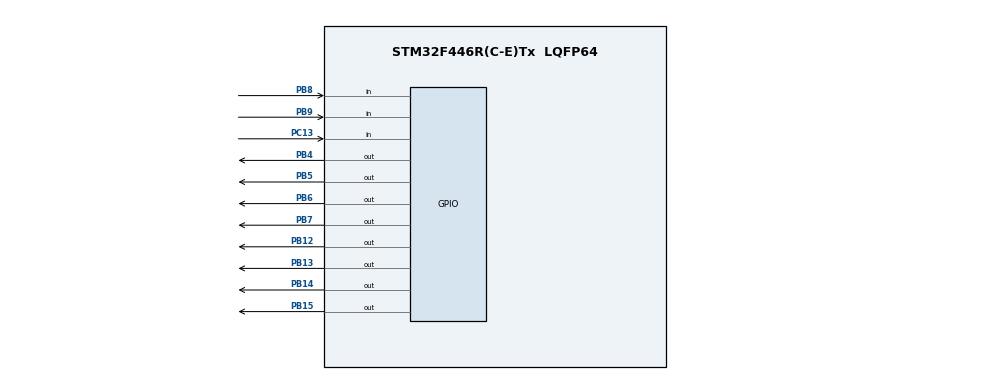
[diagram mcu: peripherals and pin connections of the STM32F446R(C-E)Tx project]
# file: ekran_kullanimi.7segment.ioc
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Mcu.Family=STM32F4
Mcu.Name=STM32F446R(C-E)Tx
Mcu.Package=LQFP64
NVIC.PriorityGroup=NVIC_PRIORITYGROUP_4
PA13.Mode=Serial_Wire
PA13.Signal=SYS_JTMS-SWDIO
PA14.Mode=Serial_Wire
PA14.Signal=SYS_JTCK-SWCLK
PB12.Signal=GPIO_Output
PB13.Signal=GPIO_Output
PB14.Signal=GPIO_Output
PB15.Signal=GPIO_Output
PB4.Signal=GPIO_Output
PB5.Signal=GPIO_Output
PB6.Signal=GPIO_Output
PB7.Signal=GPIO_Output
PB8.Signal=GPIO_Input
PB9.Signal=GPIO_Input
PC13.Signal=GPIO_Input
ProjectManager.HeapSize=0x200
ProjectManager.StackSize=0x400
ProjectManager.TargetToolchain=STM32CubeIDE
RCC.CortexFreq_Value=16000000
RCC.USBFreq_Value=96000000
RCC.VCOOutputFreq_Value=192000000
board=custom

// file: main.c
/* USER CODE BEGIN Header */
/**
  ******************************************************************************
  * @file           : main.c
  * @brief          : Main program body
  ******************************************************************************
  * @attention
  *
  * Copyright (c) 2023 STMicroelectronics.
  * All rights reserved.
  *
  * This software is licensed under terms that can be found in the LICENSE file
  * in the root directory of this software component.
  * If no LICENSE file comes with this software, it is provided AS-IS.
  *
  ******************************************************************************
  */
/* USER CODE END Header */
#include "main.h"

/* USER CODE BEGIN Includes */
#include <stdbool.h>
/* USER CODE END Includes */

/* USER CODE BEGIN PV */
uint8_t count=0;
/* USER CODE END PV */

void SystemClock_Config(void);
static void MX_GPIO_Init(void);
/* USER CODE BEGIN PFP */
void displayNumber(int num);
/* USER CODE END PFP */

int main(void)
{

  /* MCU Configuration--------------------------------------------------------*/

  /* Reset of all peripherals, Initializes the Flash interface and the Systick. */
  HAL_Init();

  /* Configure the system clock */
  SystemClock_Config();

  /* Initialize all configured peripherals */
  MX_GPIO_Init();
  /* USER CODE BEGIN 2 */
  HAL_GPIO_WritePin(GPIOB, GPIO_PIN_12|GPIO_PIN_13|GPIO_PIN_14|GPIO_PIN_15
                          |GPIO_PIN_4|GPIO_PIN_5|GPIO_PIN_6|GPIO_PIN_7, GPIO_PIN_SET);
  /* USER CODE END 2 */

  /* Infinite loop */
  while (1)
  {

    /* USER CODE BEGIN 3 */
	  if(HAL_GPIO_ReadPin(GPIOB, GPIO_PIN_8))
	  {
		  //while(HAL_GPIO_ReadPin(GPIOB, GPIO_PIN_8));
		  HAL_Delay(250);
		  count++;
	  }

	  if(HAL_GPIO_ReadPin(GPIOB, GPIO_PIN_9))
	  {
		  //while(HAL_GPIO_ReadPin(GPIOB, GPIO_PIN_8));
		  HAL_Delay(250);
		  count--;
	  }

	  if (count > 9) {
		  count = 0;
	  } else if (count < 0) {
		  count = 9;
	  }

	  displayNumber(count);
  }
  /* USER CODE END 3 */
}

void SystemClock_Config(void)
{
  RCC_OscInitTypeDef RCC_OscInitStruct = {0};
  RCC_ClkInitTypeDef RCC_ClkInitStruct = {0};

  /** Configure the main internal regulator output voltage
  */
  __HAL_RCC_PWR_CLK_ENABLE();
  __HAL_PWR_VOLTAGESCALING_CONFIG(PWR_REGULATOR_VOLTAGE_SCALE3);

  /** Initializes the RCC Oscillators according to the specified parameters
  * in the RCC_OscInitTypeDef structure.
  */
  RCC_OscInitStruct.OscillatorType = RCC_OSCILLATORTYPE_HSI;
  RCC_OscInitStruct.HSIState = RCC_HSI_ON;
  RCC_OscInitStruct.HSICalibrationValue = RCC_HSICALIBRATION_DEFAULT;
  RCC_OscInitStruct.PLL.PLLState = RCC_PLL_NONE;
  if (HAL_RCC_OscConfig(&RCC_OscInitStruct) != HAL_OK)
  {
    Error_Handler();
  }

  /** Initializes the CPU, AHB and APB buses clocks
  */
  RCC_ClkInitStruct.ClockType = RCC_CLOCKTYPE_HCLK|RCC_CLOCKTYPE_SYSCLK
                              |RCC_CLOCKTYPE_PCLK1|RCC_CLOCKTYPE_PCLK2;
  RCC_ClkInitStruct.SYSCLKSource = RCC_SYSCLKSOURCE_HSI;
  RCC_ClkInitStruct.AHBCLKDivider = RCC_SYSCLK_DIV1;
  RCC_ClkInitStruct.APB1CLKDivider = RCC_HCLK_DIV1;
  RCC_ClkInitStruct.APB2CLKDivider = RCC_HCLK_DIV1;

  if (HAL_RCC_ClockConfig(&RCC_ClkInitStruct, FLASH_LATENCY_0) != HAL_OK)
  {
    Error_Handler();
  }
}

static void MX_GPIO_Init(void)
{
  GPIO_InitTypeDef GPIO_InitStruct = {0};

  /* GPIO Ports Clock Enable */
  __HAL_RCC_GPIOC_CLK_ENABLE();
  __HAL_RCC_GPIOB_CLK_ENABLE();
  __HAL_RCC_GPIOA_CLK_ENABLE();

  /*Configure GPIO pin Output Level */
  HAL_GPIO_WritePin(GPIOB, GPIO_PIN_12|GPIO_PIN_13|GPIO_PIN_14|GPIO_PIN_15
                          |GPIO_PIN_4|GPIO_PIN_5|GPIO_PIN_6|GPIO_PIN_7, GPIO_PIN_RESET);

  /*Configure GPIO pin : PC13 */
  GPIO_InitStruct.Pin = GPIO_PIN_13;
  GPIO_InitStruct.Mode = GPIO_MODE_INPUT;
  GPIO_InitStruct.Pull = GPIO_NOPULL;
  HAL_GPIO_Init(GPIOC, &GPIO_InitStruct);

  /*Configure GPIO pins : PB12 PB13 PB14 PB15
                           PB4 PB5 PB6 PB7 */
  GPIO_InitStruct.Pin = GPIO_PIN_12|GPIO_PIN_13|GPIO_PIN_14|GPIO_PIN_15
                          |GPIO_PIN_4|GPIO_PIN_5|GPIO_PIN_6|GPIO_PIN_7;
  GPIO_InitStruct.Mode = GPIO_MODE_OUTPUT_PP;
  GPIO_InitStruct.Pull = GPIO_NOPULL;
  GPIO_InitStruct.Speed = GPIO_SPEED_FREQ_LOW;
  HAL_GPIO_Init(GPIOB, &GPIO_InitStruct);

  /*Configure GPIO pins : PB8 PB9 */
  GPIO_InitStruct.Pin = GPIO_PIN_8|GPIO_PIN_9;
  GPIO_InitStruct.Mode = GPIO_MODE_INPUT;
  GPIO_InitStruct.Pull = GPIO_NOPULL;
  HAL_GPIO_Init(GPIOB, &GPIO_InitStruct);

}

/* USER CODE BEGIN 4 */
void displayNumber(int num) {
  switch (num) {
    case 0:
        // 1,2,3,4,5,6 segmentleri açık
    HAL_GPIO_WritePin(GPIOB, GPIO_PIN_4, GPIO_PIN_RESET); //1
    HAL_GPIO_WritePin(GPIOB, GPIO_PIN_5, GPIO_PIN_RESET); //2
    HAL_GPIO_WritePin(GPIOB, GPIO_PIN_6, GPIO_PIN_RESET); //3
    HAL_GPIO_WritePin(GPIOB, GPIO_PIN_7, GPIO_PIN_RESET); //4
    HAL_GPIO_WritePin(GPIOB, GPIO_PIN_12, GPIO_PIN_RESET); //5
    HAL_GPIO_WritePin(GPIOB, GPIO_PIN_13, GPIO_PIN_RESET); //6
    HAL_GPIO_WritePin(GPIOB, GPIO_PIN_14, GPIO_PIN_SET); //7
    HAL_GPIO_WritePin(GPIOB, GPIO_PIN_15, GPIO_PIN_RESET); //8
    break;
    case 1:
        // 2,3 segmentleri açık
  	  HAL_GPIO_WritePin(GPIOB, GPIO_PIN_4, GPIO_PIN_SET); //1
  	  HAL_GPIO_WritePin(GPIOB, GPIO_PIN_5, GPIO_PIN_RESET); //2
  	  HAL_GPIO_WritePin(GPIOB, GPIO_PIN_6, GPIO_PIN_RESET); //3
  	  HAL_GPIO_WritePin(GPIOB, GPIO_PIN_7, GPIO_PIN_SET); //4
  	  HAL_GPIO_WritePin(GPIOB, GPIO_PIN_12, GPIO_PIN_SET); //5
  	  HAL_GPIO_WritePin(GPIOB, GPIO_PIN_13, GPIO_PIN_SET); //6
  	  HAL_GPIO_WritePin(GPIOB, GPIO_PIN_14, GPIO_PIN_SET); //7
  	  HAL_GPIO_WritePin(GPIOB, GPIO_PIN_15, GPIO_PIN_RESET); //8
      break;
    case 2:
      // 1,2,7,5,4 segmentleri açık
  	  HAL_GPIO_WritePin(GPIOB, GPIO_PIN_4, GPIO_PIN_RESET); //1
  	  HAL_GPIO_WritePin(GPIOB, GPIO_PIN_5, GPIO_PIN_RESET); //2
  	  HAL_GPIO_WritePin(GPIOB, GPIO_PIN_6, GPIO_PIN_SET); //3
  	  HAL_GPIO_WritePin(GPIOB, GPIO_PIN_7, GPIO_PIN_RESET); //4
  	  HAL_GPIO_WritePin(GPIOB, GPIO_PIN_12, GPIO_PIN_RESET); //5
  	  HAL_GPIO_WritePin(GPIOB, GPIO_PIN_13, GPIO_PIN_SET); //6
  	  HAL_GPIO_WritePin(GPIOB, GPIO_PIN_14, GPIO_PIN_RESET); //7
  	  HAL_GPIO_WritePin(GPIOB, GPIO_PIN_15, GPIO_PIN_RESET); //8
      break;
    case 3:
      // 1,2,3,4,7 segmentleri açık
  	  HAL_GPIO_WritePin(GPIOB, GPIO_PIN_4, GPIO_PIN_RESET); //1
  	  HAL_GPIO_WritePin(GPIOB, GPIO_PIN_5, GPIO_PIN_RESET); //2
  	  HAL_GPIO_WritePin(GPIOB, GPIO_PIN_6, GPIO_PIN_RESET); //3
  	  HAL_GPIO_WritePin(GPIOB, GPIO_PIN_7, GPIO_PIN_RESET); //4
  	  HAL_GPIO_WritePin(GPIOB, GPIO_PIN_12, GPIO_PIN_SET); //5
  	  HAL_GPIO_WritePin(GPIOB, GPIO_PIN_13, GPIO_PIN_SET); //6
  	  HAL_GPIO_WritePin(GPIOB, GPIO_PIN_14, GPIO_PIN_RESET); //7
  	  HAL_GPIO_WritePin(GPIOB, GPIO_PIN_15, GPIO_PIN_RESET); //8
      break;
    case 4:
      // 6,7,2,3 segmentleri açık
  	  HAL_GPIO_WritePin(GPIOB, GPIO_PIN_4, GPIO_PIN_SET); //1
  	  HAL_GPIO_WritePin(GPIOB, GPIO_PIN_5, GPIO_PIN_RESET); //2
  	  HAL_GPIO_WritePin(GPIOB, GPIO_PIN_6, GPIO_PIN_RESET); //3
  	  HAL_GPIO_WritePin(GPIOB, GPIO_PIN_7, GPIO_PIN_SET); //4
  	  HAL_GPIO_WritePin(GPIOB, GPIO_PIN_12, GPIO_PIN_SET); //5
  	  HAL_GPIO_WritePin(GPIOB, GPIO_PIN_13, GPIO_PIN_RESET); //6
  	  HAL_GPIO_WritePin(GPIOB, GPIO_PIN_14, GPIO_PIN_RESET); //7
  	  HAL_GPIO_WritePin(GPIOB, GPIO_PIN_15, GPIO_PIN_RESET); //8
      break;
    case 5:
      // 1,6,3,4,7 segmentleri açık
  	  HAL_GPIO_WritePin(GPIOB, GPIO_PIN_4, GPIO_PIN_RESET); //1
  	  HAL_GPIO_WritePin(GPIOB, GPIO_PIN_5, GPIO_PIN_SET); //2
  	  HAL_GPIO_WritePin(GPIOB, GPIO_PIN_6, GPIO_PIN_RESET); //3
  	  HAL_GPIO_WritePin(GPIOB, GPIO_PIN_7, GPIO_PIN_RESET); //4
  	  HAL_GPIO_WritePin(GPIOB, GPIO_PIN_12, GPIO_PIN_SET); //5
  	  HAL_GPIO_WritePin(GPIOB, GPIO_PIN_13, GPIO_PIN_RESET); //6
  	  HAL_GPIO_WritePin(GPIOB, GPIO_PIN_14, GPIO_PIN_RESET); //7
  	  HAL_GPIO_WritePin(GPIOB, GPIO_PIN_15, GPIO_PIN_RESET); //8
      break;
    case 6:
      // 1,6,3,4,5,7 segmentleri açık
  	  HAL_GPIO_WritePin(GPIOB, GPIO_PIN_4, GPIO_PIN_RESET); //1
  	  HAL_GPIO_WritePin(GPIOB, GPIO_PIN_5, GPIO_PIN_SET); //2
  	  HAL_GPIO_WritePin(GPIOB, GPIO_PIN_6, GPIO_PIN_RESET); //3
  	  HAL_GPIO_WritePin(GPIOB, GPIO_PIN_7, GPIO_PIN_RESET); //4
  	  HAL_GPIO_WritePin(GPIOB, GPIO_PIN_12, GPIO_PIN_RESET); //5
  	  HAL_GPIO_WritePin(GPIOB, GPIO_PIN_13, GPIO_PIN_RESET); //6
  	  HAL_GPIO_WritePin(GPIOB, GPIO_PIN_14, GPIO_PIN_RESET); //7
  	  HAL_GPIO_WritePin(GPIOB, GPIO_PIN_15, GPIO_PIN_RESET); //8
      break;
    case 7:
      // 1,2,3 segmentleri açık
  	  HAL_GPIO_WritePin(GPIOB, GPIO_PIN_4, GPIO_PIN_RESET); //1
  	  HAL_GPIO_WritePin(GPIOB, GPIO_PIN_5, GPIO_PIN_RESET); //2
  	  HAL_GPIO_WritePin(GPIOB, GPIO_PIN_6, GPIO_PIN_RESET); //3
  	  HAL_GPIO_WritePin(GPIOB, GPIO_PIN_7, GPIO_PIN_SET); //4
  	  HAL_GPIO_WritePin(GPIOB, GPIO_PIN_12, GPIO_PIN_SET); //5
  	  HAL_GPIO_WritePin(GPIOB, GPIO_PIN_13, GPIO_PIN_SET); //6
  	  HAL_GPIO_WritePin(GPIOB, GPIO_PIN_14, GPIO_PIN_SET); //7
  	  HAL_GPIO_WritePin(GPIOB, GPIO_PIN_15, GPIO_PIN_RESET); //8
      break;
    case 8:
      // Tüm segmentler açık
  	  HAL_GPIO_WritePin(GPIOB, GPIO_PIN_4, GPIO_PIN_RESET); //1
  	  HAL_GPIO_WritePin(GPIOB, GPIO_PIN_5, GPIO_PIN_RESET); //2
  	  HAL_GPIO_WritePin(GPIOB, GPIO_PIN_6, GPIO_PIN_RESET); //3
  	  HAL_GPIO_WritePin(GPIOB, GPIO_PIN_7, GPIO_PIN_RESET); //4
  	  HAL_GPIO_WritePin(GPIOB, GPIO_PIN_12, GPIO_PIN_RESET); //5
  	  HAL_GPIO_WritePin(GPIOB, GPIO_PIN_13, GPIO_PIN_RESET); //6
  	  HAL_GPIO_WritePin(GPIOB, GPIO_PIN_14, GPIO_PIN_RESET); //7
  	  HAL_GPIO_WritePin(GPIOB, GPIO_PIN_15, GPIO_PIN_RESET); //8
      break;
    case 9:
      // 1,2,3,4,6,7 segmentleri açık
  	  HAL_GPIO_WritePin(GPIOB, GPIO_PIN_4, GPIO_PIN_RESET); //1
  	  HAL_GPIO_WritePin(GPIOB, GPIO_PIN_5, GPIO_PIN_RESET); //2
  	  HAL_GPIO_WritePin(GPIOB, GPIO_PIN_6, GPIO_PIN_RESET); //3
  	  HAL_GPIO_WritePin(GPIOB, GPIO_PIN_7, GPIO_PIN_RESET); //4
  	  HAL_GPIO_WritePin(GPIOB, GPIO_PIN_12, GPIO_PIN_SET); //5
  	  HAL_GPIO_WritePin(GPIOB, GPIO_PIN_13, GPIO_PIN_RESET); //6
  	  HAL_GPIO_WritePin(GPIOB, GPIO_PIN_14, GPIO_PIN_RESET); //7
  	  HAL_GPIO_WritePin(GPIOB, GPIO_PIN_15, GPIO_PIN_RESET); //8
      break;
    default:
      // Geçersiz bir değer için tüm segmentleri kapalı yapın
  	  HAL_GPIO_WritePin(GPIOB, GPIO_PIN_4, GPIO_PIN_SET); //1
  	  HAL_GPIO_WritePin(GPIOB, GPIO_PIN_5, GPIO_PIN_SET); //2
  	  HAL_GPIO_WritePin(GPIOB, GPIO_PIN_6, GPIO_PIN_SET); //3
  	  HAL_GPIO_WritePin(GPIOB, GPIO_PIN_7, GPIO_PIN_SET); //4
  	  HAL_GPIO_WritePin(GPIOB, GPIO_PIN_12, GPIO_PIN_SET); //5
  	  HAL_GPIO_WritePin(GPIOB, GPIO_PIN_13, GPIO_PIN_SET); //6
  	  HAL_GPIO_WritePin(GPIOB, GPIO_PIN_14, GPIO_PIN_SET); //7
  	  HAL_GPIO_WritePin(GPIOB, GPIO_PIN_15, GPIO_PIN_SET); //8
      break;
  }
}
/* USER CODE END 4 */

void Error_Handler(void)
{
  __disable_irq();
  while (1)
  {
  }
}
